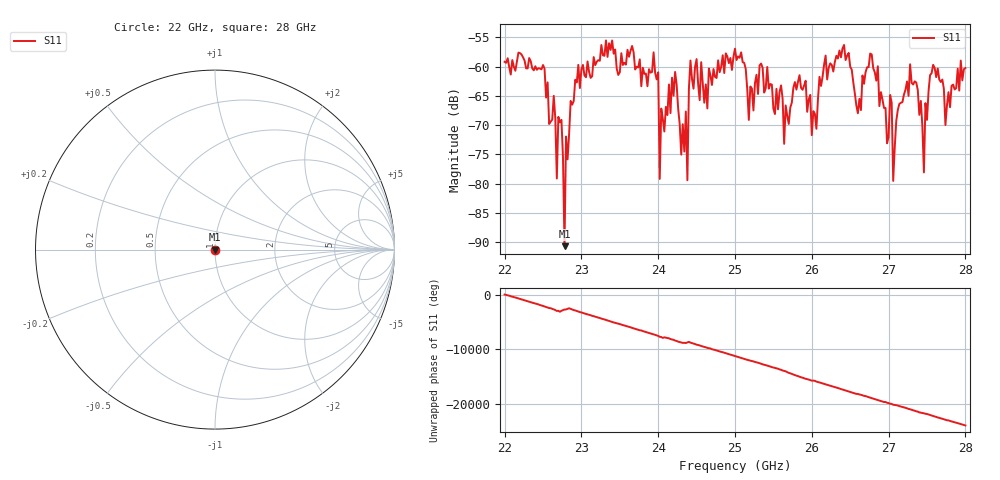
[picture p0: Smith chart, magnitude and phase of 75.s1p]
#  HZ  S  RI  R  50.00
! Rohde & Schwarz ZVA40 4Ports - Version 3.90 - 1145.1110k42 SN: 100403
! Date: 2023-10-04 11:18:56
! Measurement: S12
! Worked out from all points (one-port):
!   301 points, 22 GHz to 28 GHz, reference 50 ohm
!   lowest |S11| = -90.7 dB at 22.78 GHz (marker M1), VSWR 1.00, Z = 50 + j0.00132 ohm
!   |S11| at or under -10 dB: start of sweep to end of sweep
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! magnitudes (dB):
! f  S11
! 22 GHz  -59.2
! 22.5 GHz  -59.7
! 22.76 GHz  -75.5
! 22.78 GHz  -90.7
! 22.96 GHz  -59.7
! 23.5 GHz  -61.0
! 23.94 GHz  -57.6
! 24 GHz  -61.0
! 24.02 GHz  -79.2
! 24.04 GHz  -67.2
! 24.26 GHz  -67.2
! 24.36 GHz  -67.7
! 24.38 GHz  -79.4
! 24.42 GHz  -59.0
! 25 GHz  -56.9
! 25.64 GHz  -73.2
! 25.76 GHz  -63.6
! 26 GHz  -71.7
! 26.18 GHz  -58.1
! 26.5 GHz  -60.0
! 27.02 GHz  -64.8
! 27.06 GHz  -79.5
! 27.26 GHz  -65.0
! 27.42 GHz  -65.9
! 27.46 GHz  -78.1
! 27.58 GHz  -59.7
! 27.74 GHz  -70.0
! 28 GHz  -60.2
